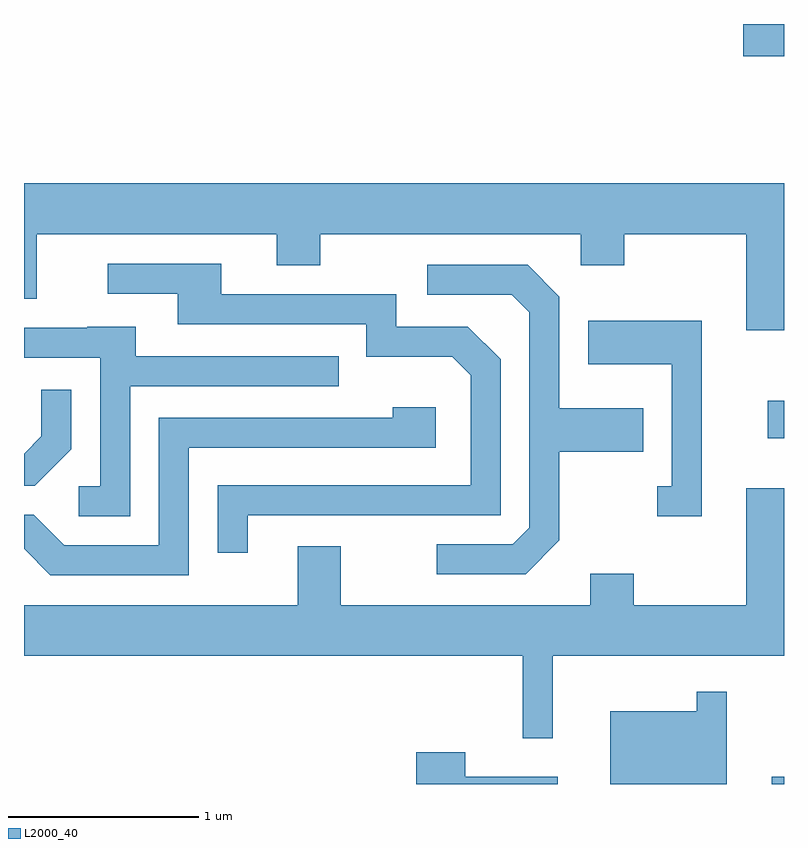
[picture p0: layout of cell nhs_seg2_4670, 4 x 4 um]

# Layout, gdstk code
import gdstk
lib = gdstk.Library(unit=1e-6, precision=1e-09)
def R(c, l, rs):  # rectangles x0, y0, x1, y1
    for r in rs: c.add(gdstk.rectangle(r[:2], r[2:], *l))
def P(c, l, *ps):  # polygons
    for p in ps: c.add(gdstk.Polygon(p, *l))
L2000_40 = (2000, 40)

nhs_seg2_4670 = lib.new_cell('nhs_seg2_4670')
R(nhs_seg2_4670, L2000_40, [(325.546,1109.802,325.611,1109.839), (325.526,1111.621,325.611,1111.819), (325.396,1113.631,325.611,1113.802)])
P(nhs_seg2_4670, L2000_40, [(325.611,1112.964),(321.611,1112.964),(321.611,1112.356),(321.679,1112.356),(321.679,1112.696),(322.941,1112.696),(322.941,1112.531),(323.169,1112.531),(323.169,1112.696),(324.541,1112.696),(324.541,1112.531),(324.769,1112.531),(324.769,1112.696),(325.411,1112.696),(325.411,1112.191),(325.611,1112.191)],
  [(322.789,1111.216),(324.119,1111.216),(324.119,1112.037),(323.947,1112.209),(323.569,1112.209),(323.569,1112.379),(322.649,1112.379),(322.649,1112.539),(322.053,1112.539),(322.053,1112.381),(322.421,1112.381),(322.421,1112.221),(323.411,1112.221),(323.411,1112.051),(323.864,1112.051),(323.961,1111.954),(323.961,1111.374),(322.631,1111.374),(322.631,1111.018),(322.789,1111.018)],
  [(324.429,1111.084),(324.429,1111.551),(324.869,1111.551),(324.869,1111.779),(324.429,1111.779),(324.429,1112.367),(324.262,1112.534),(323.733,1112.534),(323.733,1112.376),(324.179,1112.376),(324.271,1112.284),(324.271,1111.152),(324.184,1111.064),(323.783,1111.064),(323.783,1110.906),(324.252,1110.906)],
  [(325.179,1112.239),(324.581,1112.239),(324.581,1112.011),(325.021,1112.011),(325.021,1111.369),(324.943,1111.369),(324.943,1111.211),(325.179,1111.211)],
  [(322.169,1111.896),(323.268,1111.896),(323.268,1112.054),(322.199,1112.054),(322.199,1112.209),(321.945,1112.209),(321.945,1112.204),(321.611,1112.204),(321.611,1112.046),(322.011,1112.046),(322.011,1111.369),(321.898,1111.369),(321.898,1111.211),(322.169,1111.211)],
  [(321.859,1111.564),(321.859,1111.878),(321.701,1111.878),(321.701,1111.632),(321.611,1111.541),(321.611,1111.371),(321.667,1111.371)],
  [(322.479,1111.571),(323.779,1111.571),(323.779,1111.784),(323.551,1111.784),(323.551,1111.729),(322.321,1111.729),(322.321,1111.059),(321.822,1111.059),(321.662,1111.219),(321.611,1111.219),(321.611,1111.039),(321.749,1110.901),(322.479,1110.901)],
  [(324.394,1110.476),(325.611,1110.476),(325.611,1111.359),(325.411,1111.359),(325.411,1110.744),(324.819,1110.744),(324.819,1110.909),(324.591,1110.909),(324.591,1110.744),(323.279,1110.744),(323.279,1111.054),(323.051,1111.054),(323.051,1110.744),(321.611,1110.744),(321.611,1110.476),(324.236,1110.476),(324.236,1110.043),(324.394,1110.043)],
  [(325.309,1110.288),(325.151,1110.288),(325.151,1110.184),(324.696,1110.184),(324.696,1109.802),(325.309,1109.802)],
  [(324.419,1109.839),(323.934,1109.839),(323.934,1109.969),(323.676,1109.969),(323.676,1109.802),(324.419,1109.802)])

lib.write_gds('nhs_seg2_4670.gds')
